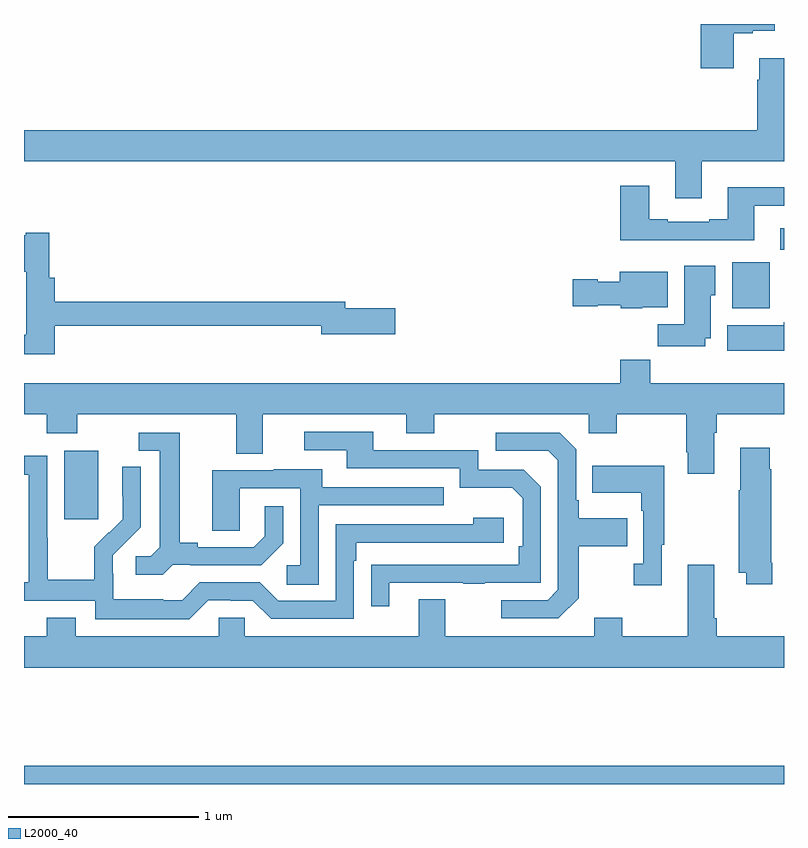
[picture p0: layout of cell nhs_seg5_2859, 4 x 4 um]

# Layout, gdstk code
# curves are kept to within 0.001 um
import gdstk
lib = gdstk.Library(unit=1e-6, precision=1e-09)
def R(c, l, rs):  # rectangles x0, y0, x1, y1
    for r in rs: c.add(gdstk.rectangle(r[:2], r[2:], *l))
def P(c, l, *ps):  # polygons
    for p in ps: c.add(gdstk.Polygon(p, *l))
L2000_40 = (2000, 40)

nhs_seg5_2859 = lib.new_cell('nhs_seg5_2859')
R(nhs_seg5_2859, L2000_40, [(277,870.799,281,870.896), (277.211,872.193,277.39,872.554), (280.727,873.302,280.924,873.544), (280.979,873.611,281,873.724)])
P(nhs_seg5_2859, L2000_40, [(280.735,874.751),(280.835,874.751),(280.835,874.763),(280.951,874.763),(280.951,874.799),(280.562,874.799),(280.562,874.566),(280.735,874.566)],
  [(280.567,874.076),(281,874.076),(281,874.618),(280.871,874.618),(280.871,874.505),(280.859,874.505),(280.859,874.24),(277,874.24),(277,874.076),(280.427,874.076),(280.427,873.882),(280.567,873.882)],
  [(280.843,873.843),(281,873.843),(281,873.94),(280.703,873.94),(280.703,873.772),(280.607,873.772),(280.607,873.759),(280.387,873.759),(280.387,873.772),(280.291,873.772),(280.291,873.949),(280.139,873.949),(280.139,873.662),(280.843,873.662)],
  [(277.163,873.21),(278.564,873.21),(278.564,873.167),(278.953,873.167),(278.953,873.302),(278.692,873.302),(278.692,873.338),(277.163,873.338),(277.163,873.463),(277.133,873.463),(277.133,873.7),(277.01,873.7),(277.01,873.687),(277,873.687),(277,873.494),(277.012,873.494),(277.012,873.164),(277,873.164),(277,873.062),(277.163,873.062)],
  [(280.585,873.146),(280.615,873.146),(280.615,873.372),(280.639,873.372),(280.639,873.526),(280.475,873.526),(280.475,873.22),(280.336,873.22),(280.336,873.102),(280.585,873.102)],
  [(280.254,873.308),(280.387,873.308),(280.387,873.496),(280.136,873.496),(280.136,873.442),(280.02,873.442),(280.02,873.455),(279.888,873.455),(279.888,873.313),(280.02,873.313),(280.02,873.32),(280.14,873.32),(280.14,873.302),(280.254,873.302)],
  [(281,873.228),(280.999,873.228),(280.999,873.214),(280.7,873.214),(280.7,873.08),(281,873.08)],
  [(280.633,872.648),(280.646,872.648),(280.646,872.744),(281,872.744),(281,872.908),(280.295,872.908),(280.295,873.032),(280.139,873.032),(280.139,872.908),(277,872.908),(277,872.744),(277.121,872.744),(277.121,872.645),(277.281,872.645),(277.281,872.744),(278.117,872.744),(278.117,872.536),(278.257,872.536),(278.257,872.744),(279.011,872.744),(279.011,872.645),(279.159,872.645),(279.159,872.744),(279.972,872.744),(279.972,872.645),(280.119,872.645),(280.119,872.744),(280.486,872.744),(280.486,872.545),(280.493,872.545),(280.493,872.433),(280.633,872.433)],
  [(278.923,871.857),(279.313,871.857),(279.313,871.852),(279.425,871.852),(279.425,871.857),(279.72,871.857),(279.72,872.364),(279.63,872.454),(279.39,872.454),(279.39,872.556),(278.839,872.556),(278.839,872.652),(278.475,872.652),(278.475,872.556),(278.699,872.556),(278.699,872.46),(279.294,872.46),(279.294,872.357),(279.571,872.357),(279.624,872.304),(279.624,872.05),(279.604,872.05),(279.604,871.953),(278.827,871.952),(278.827,871.734),(278.923,871.734)],
  [(277.782,871.953),(277.876,871.953),(277.876,871.95),(278.248,871.95),(278.364,872.066),(278.364,872.26),(278.267,872.26),(278.267,872.103),(278.21,872.046),(277.915,872.046),(277.915,872.069),(277.819,872.069),(277.819,872.649),(277.605,872.649),(277.605,872.553),(277.715,872.553),(277.715,872.045),(277.668,871.998),(277.587,871.998),(277.587,871.901),(277.73,871.901)],
  [(279.919,871.777),(279.919,872.05),(280.175,872.05),(280.175,872.197),(279.919,872.197),(279.919,872.293),(279.906,872.293),(279.906,872.562),(279.819,872.649),(279.483,872.649),(279.483,872.553),(279.759,872.553),(279.81,872.502),(279.81,871.821),(279.756,871.767),(279.513,871.767),(279.513,871.671),(279.813,871.671)],
  [(280.937,871.963),(280.932,871.963),(280.932,872.456),(280.924,872.456),(280.924,872.569),(280.769,872.569),(280.769,872.345),(280.762,872.345),(280.762,871.91),(280.802,871.91),(280.802,871.851),(280.937,871.851)],
  [(277.971,871.767),(278.087,871.767),(278.087,871.764),(278.205,871.764),(278.301,871.668),(278.736,871.668),(278.736,871.973),(278.749,871.973),(278.749,872.07),(279.526,872.07),(279.526,872.2),(279.365,872.2),(279.365,872.166),(278.64,872.166),(278.64,871.764),(278.337,871.764),(278.241,871.86),(277.926,871.86),(277.833,871.767),(277.733,871.767),(277.733,871.771),(277.47,871.771),(277.47,871.905),(277.468,871.905),(277.468,872.002),(277.614,872.15),(277.614,872.468),(277.518,872.468),(277.518,872.314),(277.52,872.314),(277.52,872.192),(277.449,872.121),(277.446,872.124),(277.369,872.047),(277.369,871.873),(277.125,871.873),(277.125,872.096),(277.122,872.096),(277.122,872.526),(277,872.526),(277,872.427),(277.026,872.427),(277.026,871.86),(277,871.86),(277,871.764),(277.374,871.764),(277.374,871.667),(277.871,871.667)],
  [(280.357,872.057),(280.369,872.057),(280.369,872.473),(279.991,872.473),(279.991,872.333),(280.248,872.333),(280.248,872.237),(280.26,872.237),(280.26,871.958),(280.209,871.958),(280.209,871.845),(280.357,871.845)],
  [(278.55,872.265),(279.209,872.265),(279.209,872.361),(278.569,872.361),(278.569,872.455),(278.315,872.455),(278.315,872.451),(277.991,872.451),(277.991,872.131),(278.136,872.131),(278.136,872.355),(278.454,872.355),(278.454,871.95),(278.382,871.95),(278.382,871.849),(278.55,871.849)],
  [(281,871.576),(280.646,871.576),(280.646,871.672),(280.633,871.672),(280.633,871.954),(280.493,871.954),(280.493,871.576),(280.149,871.576),(280.149,871.675),(280.001,871.675),(280.001,871.576),(279.217,871.576),(279.217,871.771),(279.077,871.771),(279.077,871.576),(278.163,871.576),(278.163,871.674),(278.025,871.674),(278.025,871.576),(277.273,871.576),(277.273,871.675),(277.121,871.675),(277.121,871.576),(277,871.576),(277,871.412),(281,871.412)])

lib.write_gds('nhs_seg5_2859.gds')
